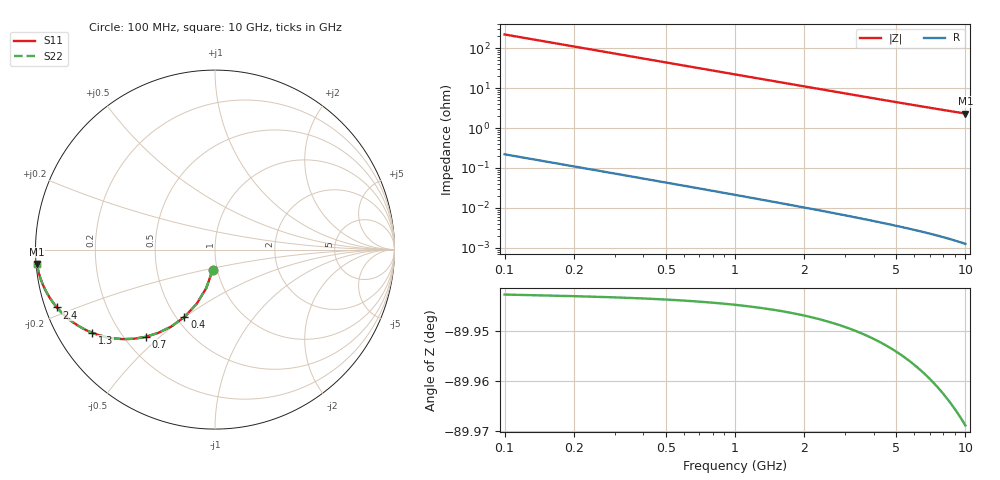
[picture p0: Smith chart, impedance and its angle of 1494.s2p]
# Hz S RI R 50.00
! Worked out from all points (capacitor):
!   100 points, 100 MHz to 10 GHz, reference 50 ohm
!   read as one part in shunt: C = 7.22 pF near 100 MHz
!   lowest |Z| = 2.31 ohm at 10 GHz (marker M1)
!   S11 on the Smith chart (normalised r, x): 100 MHz: 0.95, -0.22; 400 MHz: 0.55, -0.50; 700 MHz: 0.28, -0.45; 1.3 GHz: 0.10, -0.30; 2.4 GHz: 0.03, -0.18; 10 GHz: 0.00, -0.04
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1e8  -0.0128 -0.1119  0.9872 -0.112  0.9872 -0.112  -0.0128 -0.1119
2e8  -0.0491 -0.2155  0.9509 -0.2157  0.9509 -0.2157  -0.0491 -0.2155
3e8  -0.1039 -0.3045  0.896 -0.3048  0.896 -0.3048  -0.1039 -0.3045
4e8  -0.1708 -0.3756  0.8291 -0.3761  0.8291 -0.3761  -0.1708 -0.3756
5e8  -0.2434 -0.4284  0.7565 -0.4289  0.7565 -0.4289  -0.2434 -0.4284
6e8  -0.3165 -0.4643  0.6834 -0.4649  0.6834 -0.4649  -0.3165 -0.4643
7e8  -0.3865 -0.4861  0.6134 -0.4868  0.6134 -0.4868  -0.3865 -0.4861
8e8  -0.4514 -0.4967  0.5486 -0.4976  0.5486 -0.4976  -0.4514 -0.4967
1e9  -0.5623 -0.495  0.4376 -0.4961  0.4376 -0.4961  -0.5623 -0.495
1.1e9  -0.6085 -0.487  0.3914 -0.4882  0.3914 -0.4882  -0.6085 -0.487
1.3e9  -0.6846 -0.4634  0.3153 -0.4649  0.3153 -0.4649  -0.6846 -0.4634
1.5e9  -0.7429 -0.4357  0.257 -0.4374  0.257 -0.4374  -0.7429 -0.4357
1.8e9  -0.8062 -0.3938  0.1938 -0.3958  0.1938 -0.3958  -0.8062 -0.3938
2.1e9  -0.8498 -0.3555  0.1501 -0.3578  0.1501 -0.3578  -0.8498 -0.3555
2.4e9  -0.8808 -0.3221  0.1191 -0.3248  0.1191 -0.3248  -0.8808 -0.3221
2.9e9  -0.9152 -0.2764  0.0847 -0.2797  0.0847 -0.2797  -0.9152 -0.2764
3.4e9  -0.9368 -0.2408  0.0631 -0.2446  0.0631 -0.2446  -0.9368 -0.2408
4.2e9  -0.9577 -0.1983  0.0422 -0.203  0.0422 -0.203  -0.9577 -0.1983
5.1e9  -0.9709 -0.1645  0.029 -0.1702  0.029 -0.1702  -0.9709 -0.1645
6.7e9  -0.983 -0.1248  0.0169 -0.1323  0.0169 -0.1323  -0.983 -0.1248
8.4e9  -0.9891 -0.0979  0.0107 -0.1075  0.0107 -0.1075  -0.9891 -0.0979
1e10  -0.9923 -0.0804  0.00749 -0.0918  0.00749 -0.0918  -0.9923 -0.0804
